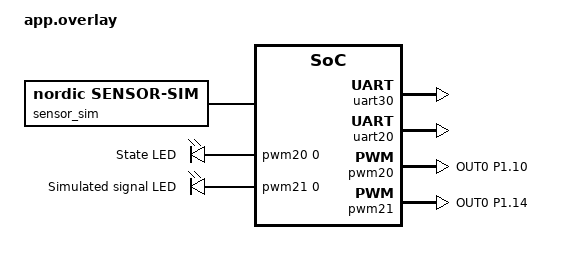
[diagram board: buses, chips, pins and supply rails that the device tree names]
/ {
	chosen {
		ncs,ml-app-ei-data-forwarder-uart = &uart20;
		zephyr,console = &uart30;

	};

	sensor_sim: sensor-sim {
		compatible = "nordic,sensor-sim";
		acc-signal = "wave";
	};

	/* Redefine pwmleds to fit CAF requirements. */
	/delete-node/ pwmleds;

	pwmleds1 {
		compatible = "pwm-leds";
		status = "okay";

		pwm_led1: led_pwm_1 {
			status = "okay";
			pwms = <&pwm20 0 PWM_MSEC(20) PWM_POLARITY_NORMAL>;
			label = "State LED";
		};
	};

	pwmleds3 {
		compatible = "pwm-leds";
		status = "okay";

		pwm_led3: led_pwm_3 {
			status = "okay";
			pwms = <&pwm21 0 PWM_MSEC(20) PWM_POLARITY_NORMAL>;
			label = "Simulated signal LED";
		};
	};
};

&uart30 {
	status = "okay";
};

&uart20 {
	status = "okay";
};

&pwm20 {
	status = "okay";
	pinctrl-0 = <&pwm20_default_alt>;
	pinctrl-1 = <&pwm20_sleep_alt>;
	pinctrl-names = "default", "sleep";
};

&pwm21 {
	status = "okay";
	pinctrl-0 = <&pwm21_default_alt>;
	pinctrl-1 = <&pwm21_sleep_alt>;
	pinctrl-names = "default", "sleep";
};

&pinctrl {
	pwm20_default_alt: pwm20_default_alt {
		group1 {
			psels = <NRF_PSEL(PWM_OUT0, 1, 10)>;
		};
	};

	pwm20_sleep_alt: pwm20_sleep_alt {
		group1 {
			psels = <NRF_PSEL(PWM_OUT0, 1, 10)>;
			low-power-enable;
		};
	};

	pwm21_default_alt: pwm21_default_alt {
		group1 {
			psels = <NRF_PSEL(PWM_OUT0, 1, 14)>;
		};
	};

	pwm21_sleep_alt: pwm21_sleep_alt {
		group1 {
			psels = <NRF_PSEL(PWM_OUT0, 1, 14)>;
			low-power-enable;
		};
	};
};
